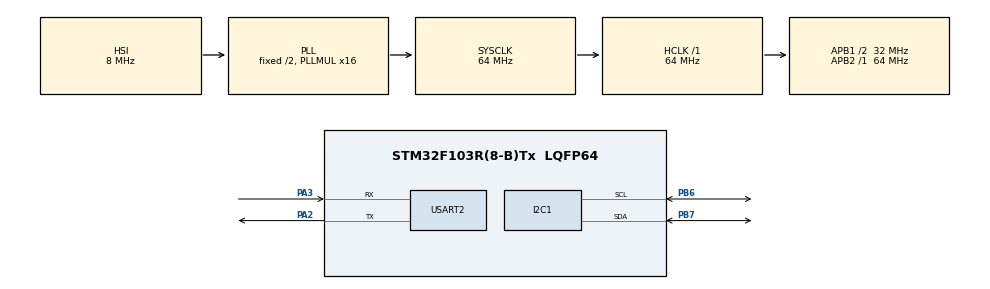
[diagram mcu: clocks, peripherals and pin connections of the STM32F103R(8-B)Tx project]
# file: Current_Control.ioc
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Mcu.Family=STM32F1
Mcu.Name=STM32F103R(8-B)Tx
Mcu.Package=LQFP64
NVIC.PriorityGroup=NVIC_PRIORITYGROUP_4
PA2.Mode=Asynchronous
PA2.Signal=USART2_TX
PA3.Mode=Asynchronous
PA3.Signal=USART2_RX
PB6.Mode=I2C
PB6.Signal=I2C1_SCL
PB7.Mode=I2C
PB7.Signal=I2C1_SDA
ProjectManager.HeapSize=0x200
ProjectManager.StackSize=0x400
ProjectManager.TargetToolchain=MDK-ARM V5
RCC.AHBFreq_Value=64000000
RCC.APB1CLKDivider=RCC_HCLK_DIV2
RCC.APB1Freq_Value=32000000
RCC.APB1TimFreq_Value=64000000
RCC.APB2Freq_Value=64000000
RCC.APB2TimFreq_Value=64000000
RCC.HCLKFreq_Value=64000000
RCC.PLLMUL=RCC_PLL_MUL16
RCC.RTCClockSelection=RCC_RTCCLKSOURCE_LSE
RCC.SYSCLKFreq_VALUE=64000000
RCC.SYSCLKSource=RCC_SYSCLKSOURCE_PLLCLK
RCC.USBFreq_Value=64000000
USART2.VirtualMode=VM_ASYNC
VP_SYS_VS_ND.Mode=No_Debug
board=NUCLEO-F103RB

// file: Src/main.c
/* USER CODE BEGIN Header */
/**
  ******************************************************************************
  * @file           : main.c
  * @brief          : Main program body
  ******************************************************************************
  ** This notice applies to any and all portions of this file
  * that are not between comment pairs USER CODE BEGIN and
  * USER CODE END. Other portions of this file, whether
  * inserted by the user or by software development tools
  * are owned by their respective copyright owners.
  *
  * COPYRIGHT(c) 2019 STMicroelectronics
  *
  * Redistribution and use in source and binary forms, with or without modification,
  * are permitted provided that the following conditions are met:
  *   1. Redistributions of source code must retain the above copyright notice,
  *      this list of conditions and the following disclaimer.
  *   2. Redistributions in binary form must reproduce the above copyright notice,
  *      this list of conditions and the following disclaimer in the documentation
  *      and/or other materials provided with the distribution.
  *   3. Neither the name of STMicroelectronics nor the names of its contributors
  *      may be used to endorse or promote products derived from this software
  *      without specific prior written permission.
  *
  * THIS SOFTWARE IS PROVIDED BY THE COPYRIGHT HOLDERS AND CONTRIBUTORS "AS IS"
  * AND ANY EXPRESS OR IMPLIED WARRANTIES, INCLUDING, BUT NOT LIMITED TO, THE
  * IMPLIED WARRANTIES OF MERCHANTABILITY AND FITNESS FOR A PARTICULAR PURPOSE ARE
  * DISCLAIMED. IN NO EVENT SHALL THE COPYRIGHT HOLDER OR CONTRIBUTORS BE LIABLE
  * FOR ANY DIRECT, INDIRECT, INCIDENTAL, SPECIAL, EXEMPLARY, OR CONSEQUENTIAL
  * DAMAGES (INCLUDING, BUT NOT LIMITED TO, PROCUREMENT OF SUBSTITUTE GOODS OR
  * SERVICES; LOSS OF USE, DATA, OR PROFITS; OR BUSINESS INTERRUPTION) HOWEVER
  * CAUSED AND ON ANY THEORY OF LIABILITY, WHETHER IN CONTRACT, STRICT LIABILITY,
  * OR TORT (INCLUDING NEGLIGENCE OR OTHERWISE) ARISING IN ANY WAY OUT OF THE USE
  * OF THIS SOFTWARE, EVEN IF ADVISED OF THE POSSIBILITY OF SUCH DAMAGE.
  *
  ******************************************************************************
  */
/* USER CODE END Header */

#include "main.h"

/* USER CODE BEGIN Includes */
#include "Current_Control_Functions.h"
/* USER CODE END Includes */

I2C_HandleTypeDef hi2c1;

UART_HandleTypeDef huart2;

void SystemClock_Config(void);
static void MX_GPIO_Init(void);
static void MX_USART2_UART_Init(void);
static void MX_I2C1_Init(void);

int main(void)
{

  /* MCU Configuration--------------------------------------------------------*/

  /* Reset of all peripherals, Initializes the Flash interface and the Systick. */
  HAL_Init();

  /* Configure the system clock */
  SystemClock_Config();

  /* Initialize all configured peripherals */
  MX_GPIO_Init();
  MX_USART2_UART_Init();
  MX_I2C1_Init();
  /* USER CODE BEGIN 2 */

	uint16_t binary = binary;//65534
	uint16_t recv = 65534;
	int val = TwosComplementToDecimal(recv) ;//do 2s complement

	char Msg1[100] = {0};
	char Msg2[100] = {0};

	snprintf((char *)Msg1, sizeof(Msg1), "\nSTARTING THE Current Control TEST\n\n");
	HAL_UART_Transmit(&huart2, (uint8_t *) Msg1, sizeof(Msg1), 1);
	memcpy(Msg1, Msg2, 100);
	snprintf((char *)Msg1, sizeof(Msg1), "\n%16x\n", binary  );
	HAL_UART_Transmit(&huart2, (uint8_t *) Msg1, sizeof(Msg1), 1);
  memcpy(Msg1, Msg2, 100);

	//init function for the current controller
	init(&hi2c1);

	//
	float Shunt_Volt = Get_Shunt_Voltage(&hi2c1); //The output will be in VOLTS
	snprintf((char *)Msg1, sizeof(Msg1), "\nShunt Voltage is: %f V\n",Shunt_Volt);
	HAL_UART_Transmit(&huart2, (uint8_t *) Msg1, sizeof(Msg1), 1);
	memcpy(Msg1, Msg2, 100);

  float Bus_Volt = Get_Bus_Voltage(&hi2c1); //The output will be in VOLTS
  snprintf((char *)Msg1, sizeof(Msg1), "\n Bus Voltage is: %f V\n",Bus_Volt);
	HAL_UART_Transmit(&huart2, (uint8_t *) Msg1, sizeof(Msg1), 1);
	memcpy(Msg1, Msg2, 100);

	float Power =   Get_power(&hi2c1); //The output will be in MILLI_WATTS
  snprintf((char *)Msg1, sizeof(Msg1), "\n Power is: %f mW\n",Power);
	HAL_UART_Transmit(&huart2, (uint8_t *) Msg1, sizeof(Msg1), 1);
	memcpy(Msg1, Msg2, 100);

	float current = Get_Current(&hi2c1); //The output will be in MILLI_AMPS
	snprintf((char *)Msg1, sizeof(Msg1), "\n Current is: %f mA\n",current);
	HAL_UART_Transmit(&huart2, (uint8_t *) Msg1, sizeof(Msg1), 1);
	memcpy(Msg1, Msg2, 100);

  /* USER CODE END 2 */

  /* Infinite loop */
  while (1)
  {

  }
}

void SystemClock_Config(void)
{
  RCC_OscInitTypeDef RCC_OscInitStruct = {0};
  RCC_ClkInitTypeDef RCC_ClkInitStruct = {0};

  /**Initializes the CPU, AHB and APB busses clocks
  */
  RCC_OscInitStruct.OscillatorType = RCC_OSCILLATORTYPE_HSI;
  RCC_OscInitStruct.HSIState = RCC_HSI_ON;
  RCC_OscInitStruct.HSICalibrationValue = RCC_HSICALIBRATION_DEFAULT;
  RCC_OscInitStruct.PLL.PLLState = RCC_PLL_ON;
  RCC_OscInitStruct.PLL.PLLSource = RCC_PLLSOURCE_HSI_DIV2;
  RCC_OscInitStruct.PLL.PLLMUL = RCC_PLL_MUL16;
  if (HAL_RCC_OscConfig(&RCC_OscInitStruct) != HAL_OK)
  {
    Error_Handler();
  }
  /**Initializes the CPU, AHB and APB busses clocks
  */
  RCC_ClkInitStruct.ClockType = RCC_CLOCKTYPE_HCLK|RCC_CLOCKTYPE_SYSCLK
                              |RCC_CLOCKTYPE_PCLK1|RCC_CLOCKTYPE_PCLK2;
  RCC_ClkInitStruct.SYSCLKSource = RCC_SYSCLKSOURCE_PLLCLK;
  RCC_ClkInitStruct.AHBCLKDivider = RCC_SYSCLK_DIV1;
  RCC_ClkInitStruct.APB1CLKDivider = RCC_HCLK_DIV2;
  RCC_ClkInitStruct.APB2CLKDivider = RCC_HCLK_DIV1;

  if (HAL_RCC_ClockConfig(&RCC_ClkInitStruct, FLASH_LATENCY_2) != HAL_OK)
  {
    Error_Handler();
  }
}

static void MX_I2C1_Init(void)
{

  hi2c1.Instance = I2C1;
  hi2c1.Init.ClockSpeed = 100000;
  hi2c1.Init.DutyCycle = I2C_DUTYCYCLE_2;
  hi2c1.Init.OwnAddress1 = 0;
  hi2c1.Init.AddressingMode = I2C_ADDRESSINGMODE_7BIT;
  hi2c1.Init.DualAddressMode = I2C_DUALADDRESS_DISABLE;
  hi2c1.Init.OwnAddress2 = 0;
  hi2c1.Init.GeneralCallMode = I2C_GENERALCALL_DISABLE;
  hi2c1.Init.NoStretchMode = I2C_NOSTRETCH_DISABLE;
  if (HAL_I2C_Init(&hi2c1) != HAL_OK)
  {
    Error_Handler();
  }

}

static void MX_USART2_UART_Init(void)
{

  huart2.Instance = USART2;
  huart2.Init.BaudRate = 115200;
  huart2.Init.WordLength = UART_WORDLENGTH_8B;
  huart2.Init.StopBits = UART_STOPBITS_1;
  huart2.Init.Parity = UART_PARITY_NONE;
  huart2.Init.Mode = UART_MODE_TX_RX;
  huart2.Init.HwFlowCtl = UART_HWCONTROL_NONE;
  huart2.Init.OverSampling = UART_OVERSAMPLING_16;
  if (HAL_UART_Init(&huart2) != HAL_OK)
  {
    Error_Handler();
  }

}

static void MX_GPIO_Init(void)
{

  /* GPIO Ports Clock Enable */
  __HAL_RCC_GPIOA_CLK_ENABLE();
  __HAL_RCC_GPIOB_CLK_ENABLE();

}

void Error_Handler(void)
{
}

/************************ (C) COPYRIGHT STMicroelectronics *****END OF FILE****/
